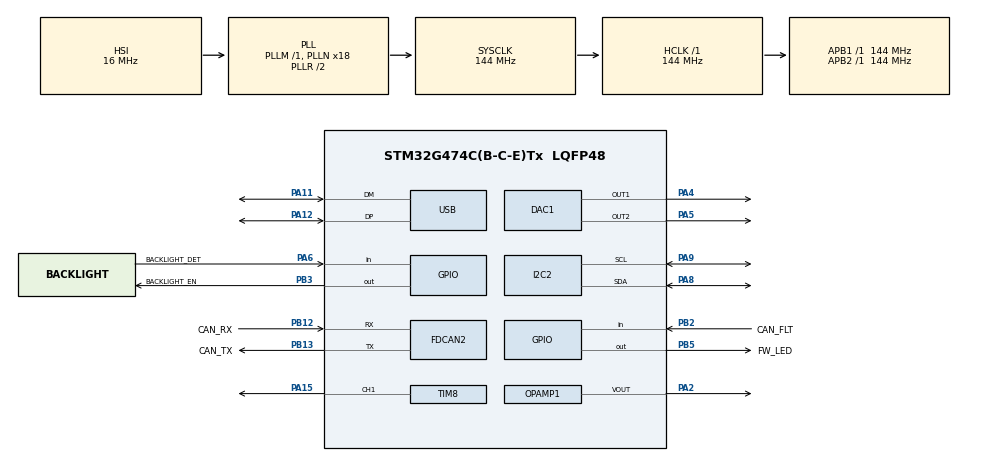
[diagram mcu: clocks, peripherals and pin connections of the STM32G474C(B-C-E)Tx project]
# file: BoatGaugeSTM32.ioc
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DAC1.DAC_Channel-DAC_OUT2=DAC_CHANNEL_2
FDCAN2.AutoRetransmission=ENABLE
FDCAN2.CalculateBaudRateNominal=2250000
FDCAN2.CalculateTimeBitNominal=444
FDCAN2.CalculateTimeQuantumNominal=27.77777777777778
FDCAN2.DataPrescaler=4
FDCAN2.DataTimeSeg1=13
FDCAN2.DataTimeSeg2=2
FDCAN2.NominalPrescaler=4
FDCAN2.NominalTimeSeg1=13
FDCAN2.NominalTimeSeg2=2
FDCAN2.StdFiltersNbr=1
I2C2.Timing=0x60715075
Mcu.Family=STM32G4
Mcu.Name=STM32G474C(B-C-E)Tx
Mcu.Package=LQFP48
NVIC.FDCAN2_IT0_IRQn=true\:4\:0\:true\:false\:true\:true\:true\:true
NVIC.PriorityGroup=NVIC_PRIORITYGROUP_4
NVIC.USB_HP_IRQn=true\:0\:0\:false\:false\:true\:true\:false\:true
NVIC.USB_LP_IRQn=true\:0\:0\:false\:false\:true\:true\:false\:true
PA11.Mode=Device
PA11.Signal=USB_DM
PA12.Mode=Device
PA12.Signal=USB_DP
PA13.Mode=Serial_Wire
PA13.Signal=SYS_JTMS-SWDIO
PA14.Mode=Serial_Wire
PA14.Signal=SYS_JTCK-SWCLK
PA15.Signal=S_TIM8_CH1
PA2.Mode=Follower-DAC_OUT2-INP
PA2.Signal=OPAMP1_VOUT
PA4.Signal=COMP_DAC11_group
PA5.Signal=COMP_DAC12_group
PA6.GPIO_Label=BACKLIGHT_DET
PA6.Signal=GPIO_Input
PA8.Mode=I2C
PA8.Signal=I2C2_SDA
PA9.Mode=I2C
PA9.Signal=I2C2_SCL
PB12.GPIO_Label=CAN_RX
PB12.GPIO_Speed=GPIO_SPEED_FREQ_VERY_HIGH
PB12.Mode=FDCAN_Activate
PB12.Signal=FDCAN2_RX
PB13.GPIO_Label=CAN_TX
PB13.GPIO_Speed=GPIO_SPEED_FREQ_VERY_HIGH
PB13.Mode=FDCAN_Activate
PB13.Signal=FDCAN2_TX
PB2.GPIO_Label=CAN_FLT
PB2.Signal=GPIO_Input
PB3.GPIO_Label=BACKLIGHT_EN
PB3.Signal=GPIO_Output
PB5.GPIO_Label=FW_LED
PB5.Signal=GPIO_Output
ProjectManager.HeapSize=0x000
ProjectManager.StackSize=0x400
ProjectManager.TargetToolchain=EWARM V8.50
RCC.ADC12Freq_Value=144000000
RCC.ADC345Freq_Value=144000000
RCC.AHBFreq_Value=144000000
RCC.APB1Freq_Value=144000000
RCC.APB1TimFreq_Value=144000000
RCC.APB2Freq_Value=144000000
RCC.APB2TimFreq_Value=144000000
RCC.CortexFreq_Value=144000000
RCC.EXTERNAL_CLOCK_VALUE=12288000
RCC.HCLKFreq_Value=144000000
RCC.HSE_VALUE=16000000
RCC.HSI48_VALUE=48000000
RCC.HSI_VALUE=16000000
RCC.LSE_VALUE=32768
RCC.PLLN=18
RCC.PLLP=RCC_PLLP_DIV5
RCC.PLLQ=RCC_PLLQ_DIV6
RCC.SYSCLKFreq_VALUE=144000000
RCC.SYSCLKSource=RCC_SYSCLKSOURCE_PLLCLK
RCC.USBFreq_Value=48000000
RCC.VCOOutputFreq_Value=288000000
SH.COMP_DAC11_group.0=DAC1_OUT1,DAC_OUT1
SH.COMP_DAC12_group.0=DAC1_OUT2,DAC_OUT2
SH.S_TIM8_CH1.0=TIM8_CH1,PWM Generation1 CH1
SYS.VoltageScaling=SYSCFG_VREFBUF_VOLTAGE_SCALE2
TIM8.Channel-PWM\ Generation1\ CH1=TIM_CHANNEL_1
VP_DAC3_VS_DACI1.Mode=DAC_OUT1_Int
VP_SYS_VS_DBSignals.Mode=DisableDeadBatterySignals
VP_TIM8_VS_ClockSourceINT.Mode=Internal
VREF+.Mode=InternalMode
VREF+.Signal=VREFBUF_OUT
board=custom

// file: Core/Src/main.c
/* USER CODE BEGIN Header */
/**
 ******************************************************************************
 * @file           : main.c
 * @brief          : Main program body
 ******************************************************************************
 * @attention
 *
 * Copyright (c) 2024 STMicroelectronics.
 * All rights reserved.
 *
 * This software is licensed under terms that can be found in the LICENSE file
 * in the root directory of this software component.
 * If no LICENSE file comes with this software, it is provided AS-IS.
 *
 ******************************************************************************
 */
/* USER CODE END Header */
#include "main.h"

/* USER CODE BEGIN Includes */

#include "blinky.h"
#include "box_to_box.h"
#include "bsp.h"
#include "cli.h"
#include "director.h"
#include "posted_signals.h"
#include "qpc.h"
#include "reset.h"
#include "shared_i2c.h"
#include "shared_i2c_events.h"
#include "usb.h"
#include <stdbool.h>
#include <stdio.h>
#include <stdlib.h>
#include <string.h>

/* USER CODE END Includes */

/* USER CODE BEGIN PTD */

// QP Priorities for Active Objects must be unique
// Lower number is lower priority
// 0 is reserved, lowest available is 1
typedef enum
{
    AO_RESERVED = 0U,
    AO_PRIO_BLINKY,
    AO_PRIO_APP_CLI,
    AO_PRIO_DIRECTOR,
    // AO_PRIO_SHARED_I2C2,
    AO_PRIO_BOX_TO_BOX,
    AO_PRIO_USB,
} AO_Priority_T;

extern const QActive *AO_SharedI2C2;

typedef struct
{
    union
    {
        QEvt base_event;
        FloatEvent_T float_event;
    } small_messages;
} SmallMessageUnion_T;
typedef struct
{
    union
    {
        QEvt someMultipleQEvt[4];
        DebugForceFaultEvent_T fault_event;
    } medium_messages;
} MediumMessageUnion_T;
typedef struct
{
    union
    {
        QEvt base_event;
        FaultGeneratedEvent_T fault_event;
        CAN_Message_Received_Event_T can_event;
    } large_messages;
} LongMessageUnion_T;

/* USER CODE END PTD */

DAC_HandleTypeDef hdac1;
DAC_HandleTypeDef hdac3;

FDCAN_HandleTypeDef hfdcan2;

I2C_HandleTypeDef hi2c2;

OPAMP_HandleTypeDef hopamp1;

TIM_HandleTypeDef htim8;

PCD_HandleTypeDef hpcd_USB_FS;

void SystemClock_Config(void);
static void MX_GPIO_Init(void);
static void MX_USB_PCD_Init(void);
static void MX_TIM8_Init(void);
static void MX_DAC1_Init(void);
static void MX_DAC3_Init(void);
static void MX_FDCAN2_Init(void);
static void MX_I2C2_Init(void);
static void MX_OPAMP1_Init(void);

int main(void)
{
    /* USER CODE BEGIN 1 */
    Reset_Init();
    QF_init(); // initialize the framework and the underlying RT kernel
    /* USER CODE END 1 */

    /* MCU Configuration--------------------------------------------------------*/

    /* Reset of all peripherals, Initializes the Flash interface and the Systick. */
    HAL_Init();

    /* Configure the system clock */
    SystemClock_Config();

    /* USER CODE BEGIN SysInit */

    // IN CUBEMX, BE SURE TO SET INTERRUPT PRIORITY FOR ALL "QP AWARE" INTERRUPTS TO AT LEAST 4
    // SINCE QF_AWARE_ISR_CMSIS_PRI is 3

    /* USER CODE END SysInit */

    /* Initialize all configured peripherals */
    MX_GPIO_Init();
    MX_USB_PCD_Init();
    MX_TIM8_Init();
    MX_DAC1_Init();
    MX_DAC3_Init();
    MX_FDCAN2_Init();
    MX_I2C2_Init();
    MX_OPAMP1_Init();
    /* USER CODE BEGIN 2 */

    uint16_t priority = QF_AWARE_ISR_CMSIS_PRI;
    (void) priority; // be sure to set your QP aware interrupt priority in Cube MX to at least this

    BSP_Init();

    size_t smallsize  = sizeof(SmallMessageUnion_T);
    size_t mediumsize = sizeof(MediumMessageUnion_T);
    size_t largesize  = sizeof(LongMessageUnion_T);
    (void) smallsize;
    (void) mediumsize;
    (void) largesize;

    // initialize event pools
    static QF_MPOOL_EL(SmallMessageUnion_T) smlPoolSto[10];
    QF_poolInit(smlPoolSto, sizeof(smlPoolSto), sizeof(smlPoolSto[0]));

    static QF_MPOOL_EL(MediumMessageUnion_T) mediumPoolSto[20];
    QF_poolInit(mediumPoolSto, sizeof(mediumPoolSto), sizeof(mediumPoolSto[0]));

    static QF_MPOOL_EL(LongMessageUnion_T) longPoolSto[20];
    QF_poolInit(longPoolSto, sizeof(longPoolSto), sizeof(longPoolSto[0]));

    // initialize publish-subscribe
    static QSubscrList subscrSto[PUBSUB_MAX_SIG];
    QActive_psInit(subscrSto, Q_DIM(subscrSto));

    // instantiate and start AOs/threads...

    static QEvt const *blinkyQueueSto[10];
    Blinky_ctor();
    QACTIVE_START(
        AO_Blinky,
        AO_PRIO_BLINKY,        // QP prio. of the AO
        blinkyQueueSto,        // event queue storage
        Q_DIM(blinkyQueueSto), // queue length [events]
        (void *) 0,
        0U,          // no stack storage
        (void *) 0); // no initialization param

    static QEvt const *app_cli_QueueSto[10];
    AppCLI_ctor(BSP_Get_Serial_IO_Interface_USB0());
    QACTIVE_START(
        AO_AppCLI,
        AO_PRIO_APP_CLI,         // QP prio. of the AO
        app_cli_QueueSto,        // event queue storage
        Q_DIM(app_cli_QueueSto), // queue length [events]
        (void *) 0,              // stack storage (not used in QK)
        0U,                      // stack size [bytes] (not used in QK)
        (void *) 0);             // no initialization param

    static QEvt const *box_to_box_QueueSto[20];
    Box_To_Box_ctor();
    QACTIVE_START(
        AO_BOX_TO_BOX,
        AO_PRIO_BOX_TO_BOX,         // QP prio. of the AO
        box_to_box_QueueSto,        // event queue storage
        Q_DIM(box_to_box_QueueSto), // queue length [events]
        (void *) 0,                 // stack storage (not used in QK)
        0U,                         // stack size [bytes] (not used in QK)
        (void *) 0);                // no initialization param

    static QEvt const *directorQueueSto[10];
    Director_ctor();
    QACTIVE_START(
        AO_DIRECTOR,
        AO_PRIO_DIRECTOR,        // QP prio. of the AO
        directorQueueSto,        // event queue storage
        Q_DIM(directorQueueSto), // queue length [events]
        (void *) 0,
        0U,          // no stack storage
        (void *) 0); // no initialization param

    static QEvt const *usb_QueueSto[10];
    USB_ctor();
    QACTIVE_START(
        AO_USB,
        AO_PRIO_USB,         // QP prio. of the AO
        usb_QueueSto,        // event queue storage
        Q_DIM(usb_QueueSto), // queue length [events]
        (void *) 0,          // stack storage (not used in QK)
        0U,                  // stack size [bytes] (not used in QK)
        (void *) 0);         // no initialization param

    return QF_run(); // run the QF application
                     /* USER CODE END 2 */

    /* Infinite loop */
    /* USER CODE BEGIN WHILE */
    // while (1)
    // {
    /* USER CODE END WHILE */

}

void SystemClock_Config(void)
{
    RCC_OscInitTypeDef RCC_OscInitStruct = {0};
    RCC_ClkInitTypeDef RCC_ClkInitStruct = {0};

    /** Configure the main internal regulator output voltage
     */
    HAL_PWREx_ControlVoltageScaling(PWR_REGULATOR_VOLTAGE_SCALE1);

    /** Initializes the RCC Oscillators according to the specified parameters
     * in the RCC_OscInitTypeDef structure.
     */
    RCC_OscInitStruct.OscillatorType      = RCC_OSCILLATORTYPE_HSI;
    RCC_OscInitStruct.HSIState            = RCC_HSI_ON;
    RCC_OscInitStruct.HSICalibrationValue = RCC_HSICALIBRATION_DEFAULT;
    RCC_OscInitStruct.PLL.PLLState        = RCC_PLL_ON;
    RCC_OscInitStruct.PLL.PLLSource       = RCC_PLLSOURCE_HSI;
    RCC_OscInitStruct.PLL.PLLM            = RCC_PLLM_DIV1;
    RCC_OscInitStruct.PLL.PLLN            = 18;
    RCC_OscInitStruct.PLL.PLLP            = RCC_PLLP_DIV5;
    RCC_OscInitStruct.PLL.PLLQ            = RCC_PLLQ_DIV6;
    RCC_OscInitStruct.PLL.PLLR            = RCC_PLLR_DIV2;
    if (HAL_RCC_OscConfig(&RCC_OscInitStruct) != HAL_OK)
    {
        Error_Handler();
    }

    /** Initializes the CPU, AHB and APB buses clocks
     */
    RCC_ClkInitStruct.ClockType = RCC_CLOCKTYPE_HCLK | RCC_CLOCKTYPE_SYSCLK | RCC_CLOCKTYPE_PCLK1 |
        RCC_CLOCKTYPE_PCLK2;
    RCC_ClkInitStruct.SYSCLKSource   = RCC_SYSCLKSOURCE_PLLCLK;
    RCC_ClkInitStruct.AHBCLKDivider  = RCC_SYSCLK_DIV1;
    RCC_ClkInitStruct.APB1CLKDivider = RCC_HCLK_DIV1;
    RCC_ClkInitStruct.APB2CLKDivider = RCC_HCLK_DIV1;

    if (HAL_RCC_ClockConfig(&RCC_ClkInitStruct, FLASH_LATENCY_4) != HAL_OK)
    {
        Error_Handler();
    }
}

static void MX_DAC1_Init(void)
{

    DAC_ChannelConfTypeDef sConfig = {0};

    /** DAC Initialization
     */
    hdac1.Instance = DAC1;
    if (HAL_DAC_Init(&hdac1) != HAL_OK)
    {
        Error_Handler();
    }

    /** DAC channel OUT1 config
     */
    sConfig.DAC_HighFrequency           = DAC_HIGH_FREQUENCY_INTERFACE_MODE_AUTOMATIC;
    sConfig.DAC_DMADoubleDataMode       = DISABLE;
    sConfig.DAC_SignedFormat            = DISABLE;
    sConfig.DAC_SampleAndHold           = DAC_SAMPLEANDHOLD_DISABLE;
    sConfig.DAC_Trigger                 = DAC_TRIGGER_NONE;
    sConfig.DAC_Trigger2                = DAC_TRIGGER_NONE;
    sConfig.DAC_OutputBuffer            = DAC_OUTPUTBUFFER_ENABLE;
    sConfig.DAC_ConnectOnChipPeripheral = DAC_CHIPCONNECT_EXTERNAL;
    sConfig.DAC_UserTrimming            = DAC_TRIMMING_FACTORY;
    if (HAL_DAC_ConfigChannel(&hdac1, &sConfig, DAC_CHANNEL_1) != HAL_OK)
    {
        Error_Handler();
    }

    /** DAC channel OUT2 config
     */
    if (HAL_DAC_ConfigChannel(&hdac1, &sConfig, DAC_CHANNEL_2) != HAL_OK)
    {
        Error_Handler();
    }
}

static void MX_DAC3_Init(void)
{

    DAC_ChannelConfTypeDef sConfig = {0};

    /** DAC Initialization
     */
    hdac3.Instance = DAC3;
    if (HAL_DAC_Init(&hdac3) != HAL_OK)
    {
        Error_Handler();
    }

    /** DAC channel OUT1 config
     */
    sConfig.DAC_HighFrequency           = DAC_HIGH_FREQUENCY_INTERFACE_MODE_AUTOMATIC;
    sConfig.DAC_DMADoubleDataMode       = DISABLE;
    sConfig.DAC_SignedFormat            = DISABLE;
    sConfig.DAC_SampleAndHold           = DAC_SAMPLEANDHOLD_DISABLE;
    sConfig.DAC_Trigger                 = DAC_TRIGGER_NONE;
    sConfig.DAC_Trigger2                = DAC_TRIGGER_NONE;
    sConfig.DAC_OutputBuffer            = DAC_OUTPUTBUFFER_DISABLE;
    sConfig.DAC_ConnectOnChipPeripheral = DAC_CHIPCONNECT_INTERNAL;
    sConfig.DAC_UserTrimming            = DAC_TRIMMING_FACTORY;
    if (HAL_DAC_ConfigChannel(&hdac3, &sConfig, DAC_CHANNEL_1) != HAL_OK)
    {
        Error_Handler();
    }
}

static void MX_FDCAN2_Init(void)
{

    hfdcan2.Instance                  = FDCAN2;
    hfdcan2.Init.ClockDivider         = FDCAN_CLOCK_DIV1;
    hfdcan2.Init.FrameFormat          = FDCAN_FRAME_FD_NO_BRS;
    hfdcan2.Init.Mode                 = FDCAN_MODE_NORMAL;
    hfdcan2.Init.AutoRetransmission   = ENABLE;
    hfdcan2.Init.TransmitPause        = DISABLE;
    hfdcan2.Init.ProtocolException    = DISABLE;
    hfdcan2.Init.NominalPrescaler     = 4;
    hfdcan2.Init.NominalSyncJumpWidth = 1;
    hfdcan2.Init.NominalTimeSeg1      = 13;
    hfdcan2.Init.NominalTimeSeg2      = 2;
    hfdcan2.Init.DataPrescaler        = 4;
    hfdcan2.Init.DataSyncJumpWidth    = 1;
    hfdcan2.Init.DataTimeSeg1         = 13;
    hfdcan2.Init.DataTimeSeg2         = 2;
    hfdcan2.Init.StdFiltersNbr        = 1;
    hfdcan2.Init.ExtFiltersNbr        = 0;
    hfdcan2.Init.TxFifoQueueMode      = FDCAN_TX_FIFO_OPERATION;
    if (HAL_FDCAN_Init(&hfdcan2) != HAL_OK)
    {
        Error_Handler();
    }
}

static void MX_I2C2_Init(void)
{

    hi2c2.Instance              = I2C2;
    hi2c2.Init.Timing           = 0x60715075;
    hi2c2.Init.OwnAddress1      = 0;
    hi2c2.Init.AddressingMode   = I2C_ADDRESSINGMODE_7BIT;
    hi2c2.Init.DualAddressMode  = I2C_DUALADDRESS_DISABLE;
    hi2c2.Init.OwnAddress2      = 0;
    hi2c2.Init.OwnAddress2Masks = I2C_OA2_NOMASK;
    hi2c2.Init.GeneralCallMode  = I2C_GENERALCALL_DISABLE;
    hi2c2.Init.NoStretchMode    = I2C_NOSTRETCH_DISABLE;
    if (HAL_I2C_Init(&hi2c2) != HAL_OK)
    {
        Error_Handler();
    }

    /** Configure Analogue filter
     */
    if (HAL_I2CEx_ConfigAnalogFilter(&hi2c2, I2C_ANALOGFILTER_ENABLE) != HAL_OK)
    {
        Error_Handler();
    }

    /** Configure Digital filter
     */
    if (HAL_I2CEx_ConfigDigitalFilter(&hi2c2, 0) != HAL_OK)
    {
        Error_Handler();
    }
}

static void MX_OPAMP1_Init(void)
{

    hopamp1.Instance                    = OPAMP1;
    hopamp1.Init.PowerMode              = OPAMP_POWERMODE_NORMALSPEED;
    hopamp1.Init.Mode                   = OPAMP_FOLLOWER_MODE;
    hopamp1.Init.NonInvertingInput      = OPAMP_NONINVERTINGINPUT_DAC;
    hopamp1.Init.InternalOutput         = DISABLE;
    hopamp1.Init.TimerControlledMuxmode = OPAMP_TIMERCONTROLLEDMUXMODE_DISABLE;
    hopamp1.Init.UserTrimming           = OPAMP_TRIMMING_FACTORY;
    if (HAL_OPAMP_Init(&hopamp1) != HAL_OK)
    {
        Error_Handler();
    }
}

static void MX_TIM8_Init(void)
{

    TIM_ClockConfigTypeDef sClockSourceConfig           = {0};
    TIM_MasterConfigTypeDef sMasterConfig               = {0};
    TIM_OC_InitTypeDef sConfigOC                        = {0};
    TIM_BreakDeadTimeConfigTypeDef sBreakDeadTimeConfig = {0};

    htim8.Instance               = TIM8;
    htim8.Init.Prescaler         = 71;
    htim8.Init.CounterMode       = TIM_COUNTERMODE_UP;
    htim8.Init.Period            = 65535;
    htim8.Init.ClockDivision     = TIM_CLOCKDIVISION_DIV1;
    htim8.Init.RepetitionCounter = 0;
    htim8.Init.AutoReloadPreload = TIM_AUTORELOAD_PRELOAD_DISABLE;
    if (HAL_TIM_Base_Init(&htim8) != HAL_OK)
    {
        Error_Handler();
    }
    sClockSourceConfig.ClockSource = TIM_CLOCKSOURCE_INTERNAL;
    if (HAL_TIM_ConfigClockSource(&htim8, &sClockSourceConfig) != HAL_OK)
    {
        Error_Handler();
    }
    if (HAL_TIM_PWM_Init(&htim8) != HAL_OK)
    {
        Error_Handler();
    }
    sMasterConfig.MasterOutputTrigger  = TIM_TRGO_RESET;
    sMasterConfig.MasterOutputTrigger2 = TIM_TRGO2_RESET;
    sMasterConfig.MasterSlaveMode      = TIM_MASTERSLAVEMODE_DISABLE;
    if (HAL_TIMEx_MasterConfigSynchronization(&htim8, &sMasterConfig) != HAL_OK)
    {
        Error_Handler();
    }
    sConfigOC.OCMode       = TIM_OCMODE_PWM1;
    sConfigOC.Pulse        = 0;
    sConfigOC.OCPolarity   = TIM_OCPOLARITY_HIGH;
    sConfigOC.OCNPolarity  = TIM_OCNPOLARITY_HIGH;
    sConfigOC.OCFastMode   = TIM_OCFAST_DISABLE;
    sConfigOC.OCIdleState  = TIM_OCIDLESTATE_RESET;
    sConfigOC.OCNIdleState = TIM_OCNIDLESTATE_RESET;
    if (HAL_TIM_PWM_ConfigChannel(&htim8, &sConfigOC, TIM_CHANNEL_1) != HAL_OK)
    {
        Error_Handler();
    }
    sBreakDeadTimeConfig.OffStateRunMode  = TIM_OSSR_DISABLE;
    sBreakDeadTimeConfig.OffStateIDLEMode = TIM_OSSI_DISABLE;
    sBreakDeadTimeConfig.LockLevel        = TIM_LOCKLEVEL_OFF;
    sBreakDeadTimeConfig.DeadTime         = 0;
    sBreakDeadTimeConfig.BreakState       = TIM_BREAK_DISABLE;
    sBreakDeadTimeConfig.BreakPolarity    = TIM_BREAKPOLARITY_HIGH;
    sBreakDeadTimeConfig.BreakFilter      = 0;
    sBreakDeadTimeConfig.BreakAFMode      = TIM_BREAK_AFMODE_INPUT;
    sBreakDeadTimeConfig.Break2State      = TIM_BREAK2_DISABLE;
    sBreakDeadTimeConfig.Break2Polarity   = TIM_BREAK2POLARITY_HIGH;
    sBreakDeadTimeConfig.Break2Filter     = 0;
    sBreakDeadTimeConfig.Break2AFMode     = TIM_BREAK_AFMODE_INPUT;
    sBreakDeadTimeConfig.AutomaticOutput  = TIM_AUTOMATICOUTPUT_DISABLE;
    if (HAL_TIMEx_ConfigBreakDeadTime(&htim8, &sBreakDeadTimeConfig) != HAL_OK)
    {
        Error_Handler();
    }
    HAL_TIM_MspPostInit(&htim8);
}

static void MX_USB_PCD_Init(void)
{

    hpcd_USB_FS.Instance                     = USB;
    hpcd_USB_FS.Init.dev_endpoints           = 8;
    hpcd_USB_FS.Init.speed                   = PCD_SPEED_FULL;
    hpcd_USB_FS.Init.phy_itface              = PCD_PHY_EMBEDDED;
    hpcd_USB_FS.Init.Sof_enable              = DISABLE;
    hpcd_USB_FS.Init.low_power_enable        = DISABLE;
    hpcd_USB_FS.Init.lpm_enable              = DISABLE;
    hpcd_USB_FS.Init.battery_charging_enable = DISABLE;
    if (HAL_PCD_Init(&hpcd_USB_FS) != HAL_OK)
    {
        Error_Handler();
    }
}

static void MX_GPIO_Init(void)
{
    GPIO_InitTypeDef GPIO_InitStruct = {0};

    /* GPIO Ports Clock Enable */
    __HAL_RCC_GPIOA_CLK_ENABLE();
    __HAL_RCC_GPIOB_CLK_ENABLE();

    /*Configure GPIO pin Output Level */
    HAL_GPIO_WritePin(GPIOB, BACKLIGHT_EN_Pin | FW_LED_Pin, GPIO_PIN_RESET);

    /*Configure GPIO pin : BACKLIGHT_DET_Pin */
    GPIO_InitStruct.Pin  = BACKLIGHT_DET_Pin;
    GPIO_InitStruct.Mode = GPIO_MODE_INPUT;
    GPIO_InitStruct.Pull = GPIO_NOPULL;
    HAL_GPIO_Init(BACKLIGHT_DET_GPIO_Port, &GPIO_InitStruct);

    /*Configure GPIO pin : CAN_FLT_Pin */
    GPIO_InitStruct.Pin  = CAN_FLT_Pin;
    GPIO_InitStruct.Mode = GPIO_MODE_INPUT;
    GPIO_InitStruct.Pull = GPIO_NOPULL;
    HAL_GPIO_Init(CAN_FLT_GPIO_Port, &GPIO_InitStruct);

    /*Configure GPIO pins : BACKLIGHT_EN_Pin FW_LED_Pin */
    GPIO_InitStruct.Pin   = BACKLIGHT_EN_Pin | FW_LED_Pin;
    GPIO_InitStruct.Mode  = GPIO_MODE_OUTPUT_PP;
    GPIO_InitStruct.Pull  = GPIO_NOPULL;
    GPIO_InitStruct.Speed = GPIO_SPEED_FREQ_LOW;
    HAL_GPIO_Init(GPIOB, &GPIO_InitStruct);

}

void Error_Handler(void)
{
    __disable_irq();
    while (1)
    {
    }
}
